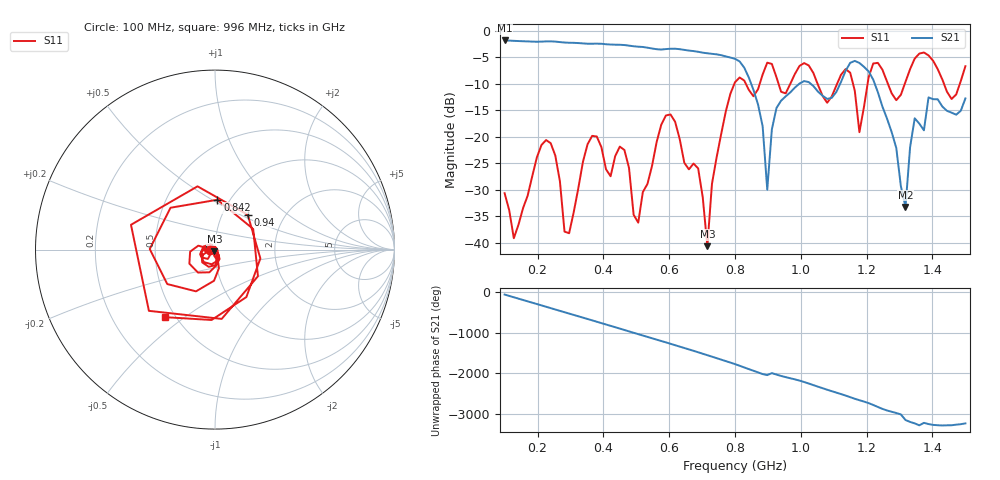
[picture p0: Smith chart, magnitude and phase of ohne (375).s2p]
! NanoVNA-App
! Date: 2025-09-25 14:23:43
! Start: 100MHz Stop: 1,5GHz Points: 101
! S-Parameter data: F S11 S21 S12 S22
# Hz S RI R 50
!  Frequency  S11_Real  S11_Imag  S21_Real  S21_Imag  S12_Real  S12_Imag  S22_Real  S22_Imag
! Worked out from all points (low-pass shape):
!   101 points, 100 MHz to 1.5 GHz, reference 50 ohm
!   highest |S21| = -1.79 dB at 100 MHz (marker M1); lowest = -33.2 dB at 1.318 GHz (marker M2)
!   |S21| within 3 dB of the highest: start of sweep to 771.1 MHz
!   lowest |S11| = -40.6 dB at 716 MHz (marker M3), VSWR 1.02, Z = 49.7 - j0.881 ohm
!   |S11| at or under -10 dB: start of sweep to 798 MHz; 833.1 MHz to 875.1 MHz (41.97 MHz wide, 4.91 % of centre); 1.051 GHz to 1.11 GHz (59.01 MHz wide, 5.46 % of centre) (the widest 3 of 7)
!   S12 and S22 are empty: the file has one direction only
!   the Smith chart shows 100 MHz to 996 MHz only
!   S11 on the Smith chart (normalised r, x): 100 MHz: 0.94, -0.01; 842 MHz: 0.88, +0.53; 940 MHz: 1.32, +0.55; 996 MHz: 0.44, -0.42
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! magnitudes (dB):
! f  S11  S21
! 100 MHz  -30.6  -1.8
! 128 MHz  -39.1  -1.9
! 226 MHz  -20.6  -2.0
! 296 MHz  -38.2  -2.2
! 338 MHz  -24.7  -2.4
! 464 MHz  -22.5  -2.7
! 506 MHz  -36.2  -3.0
! 576 MHz  -17.7  -3.5
! 688 MHz  -25.9  -3.9
! 716 MHz  -40.6  -4.2
! 800 MHz  -9.7  -5.3
! 842 MHz  -11.1  -8.8
! 898 MHz  -6.0  -30.0
! 940 MHz  -11.5  -13.2
! 996 MHz  -6.6  -9.9
! 1.038 GHz  -7.9  -10.4
! 1.178 GHz  -19.1  -6.0
! 1.22 GHz  -6.1  -9.2
! 1.276 GHz  -11.8  -19.1
! 1.318 GHz  -9.6  -33.2
! 1.346 GHz  -5.2  -16.5
! 1.5 GHz  -6.7  -12.7
